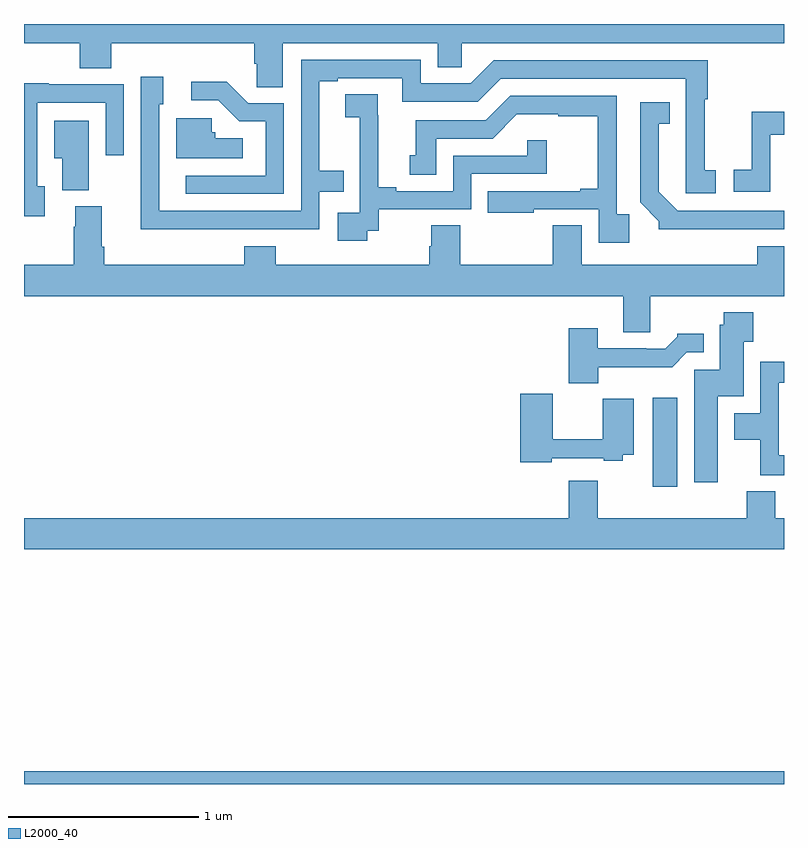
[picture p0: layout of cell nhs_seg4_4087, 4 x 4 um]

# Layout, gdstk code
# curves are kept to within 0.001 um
import gdstk
lib = gdstk.Library(unit=1e-6, precision=1e-09)
def R(c, l, rs):  # rectangles x0, y0, x1, y1
    for r in rs: c.add(gdstk.rectangle(r[:2], r[2:], *l))
def P(c, l, *ps):  # polygons
    for p in ps: c.add(gdstk.Polygon(p, *l))
L2000_40 = (2000, 40)

nhs_seg4_4087 = lib.new_cell('nhs_seg4_4087')
R(nhs_seg4_4087, L2000_40, [(327,812.9,331,812.968), (330.308,814.464,330.439,814.933)])
P(nhs_seg4_4087, L2000_40, [(328.363,816.8),(329.177,816.8),(329.177,816.673),(329.304,816.673),(329.304,816.8),(331,816.8),(331,816.9),(327,816.9),(327,816.8),(327.293,816.8),(327.293,816.667),(327.458,816.667),(327.458,816.8),(328.211,816.8),(328.211,816.691),(328.224,816.691),(328.224,816.568),(328.363,816.568)],
  [(328.076,815.82),(328.554,815.82),(328.554,816.018),(328.682,816.018),(328.682,816.127),(328.555,816.127),(328.555,816.6),(328.651,816.6),(328.651,816.615),(328.992,816.615),(328.992,816.492),(329.388,816.492),(329.508,816.612),(330.483,816.612),(330.482,816.009),(330.64,816.009),(330.64,816.129),(330.582,816.129),(330.582,816.505),(330.599,816.505),(330.599,816.708),(329.472,816.708),(329.352,816.588),(329.088,816.588),(329.088,816.711),(328.458,816.711),(328.458,815.916),(327.711,815.916),(327.711,816.477),(327.733,816.477),(327.733,816.622),(327.615,816.622),(327.614,815.819)],
  [(328.368,816.483),(328.179,816.483),(328.066,816.596),(327.879,816.596),(327.879,816.498),(328.023,816.498),(328.134,816.387),(328.272,816.387),(328.272,816.102),(327.852,816.102),(327.852,816.006),(328.368,816.006)],
  [(327.109,816.045),(327.069,816.045),(327.069,816.486),(327.429,816.486),(327.429,816.21),(327.525,816.21),(327.525,816.582),(327.129,816.582),(327.129,816.589),(327,816.589),(327,815.889),(327.109,815.889)],
  [(328.806,815.811),(328.868,815.811),(328.868,815.925),(329.355,815.925),(329.355,816.111),(329.75,816.111),(329.75,816.289),(329.649,816.289),(329.649,816.207),(329.259,816.207),(329.259,816.021),(328.96,816.021),(328.96,816.041),(328.864,816.041),(328.864,816.419),(328.862,816.419),(328.862,816.53),(328.692,816.53),(328.692,816.409),(328.766,816.409),(328.766,816.211),(328.767,816.211),(328.767,815.907),(328.65,815.907),(328.65,815.76),(328.806,815.76)],
  [(330.185,815.899),(330.12,815.899),(330.12,816.522),(329.559,816.522),(329.43,816.393),(329.063,816.393),(329.063,816.21),(329.03,816.21),(329.03,816.106),(329.17,816.106),(329.17,816.297),(329.466,816.297),(329.594,816.425),(329.813,816.425),(329.813,816.414),(330.019,816.414),(330.019,816.034),(329.927,816.034),(329.927,816.021),(329.44,816.021),(329.44,815.906),(329.683,815.906),(329.683,815.925),(330.024,815.925),(330.024,815.748),(330.185,815.748)],
  [(330.776,815.82),(331,815.82),(331,815.916),(330.441,815.916),(330.34,816.017),(330.34,816.374),(330.398,816.374),(330.398,816.487),(330.243,816.487),(330.243,815.962),(330.342,815.863),(330.342,815.819)],
  [(330.928,816.318),(331,816.318),(331,816.439),(330.829,816.439),(330.829,816.134),(330.735,816.134),(330.735,816.018),(330.928,816.018)],
  [(328.15,816.298),(328.006,816.298),(328.006,816.33),(327.987,816.33),(327.987,816.405),(327.8,816.405),(327.8,816.194),(328.15,816.194)],
  [(327.34,816.391),(327.158,816.391),(327.158,816.194),(327.2,816.194),(327.2,816.025),(327.34,816.025)],
  [(330.155,815.278),(330.295,815.278),(330.295,815.468),(331,815.468),(331,815.731),(330.86,815.731),(330.86,815.632),(329.935,815.632),(329.935,815.84),(329.783,815.84),(329.783,815.632),(329.297,815.632),(329.297,815.84),(329.144,815.84),(329.144,815.73),(329.132,815.73),(329.132,815.632),(328.325,815.632),(328.325,815.731),(328.16,815.731),(328.16,815.632),(327.422,815.632),(327.422,815.728),(327.409,815.728),(327.409,815.94),(327.269,815.94),(327.269,815.834),(327.262,815.834),(327.262,815.632),(327,815.632),(327,815.468),(330.155,815.468)],
  [(330.652,814.94),(330.787,814.94),(330.787,815.227),(330.839,815.227),(330.839,815.383),(330.682,815.383),(330.682,815.316),(330.662,815.316),(330.662,815.079),(330.527,815.079),(330.527,814.488),(330.652,814.488)],
  [(330.022,815.094),(330.411,815.094),(330.489,815.172),(330.577,815.172),(330.577,815.269),(330.438,815.269),(330.438,815.254),(330.374,815.19),(330.275,815.19),(330.275,815.193),(330.019,815.193),(330.019,815.299),(329.867,815.299),(329.867,815.009),(330.022,815.009)],
  [(331,814.63),(330.972,814.63),(330.972,815.013),(331,815.013),(331,815.122),(330.876,815.122),(330.876,814.852),(330.737,814.852),(330.737,814.712),(330.874,814.712),(330.874,814.526),(331,814.526)],
  [(329.778,814.614),(330.05,814.614),(330.05,814.602),(330.15,814.602),(330.15,814.634),(330.208,814.634),(330.208,814.927),(330.046,814.927),(330.046,814.715),(329.782,814.715),(329.782,814.954),(329.612,814.954),(329.612,814.594),(329.778,814.594)],
  [(331,814.3),(330.955,814.3),(330.955,814.441),(330.803,814.441),(330.803,814.3),(330.019,814.3),(330.019,814.495),(329.867,814.495),(329.867,814.3),(327,814.3),(327,814.136),(331,814.136)])

lib.write_gds('nhs_seg4_4087.gds')
